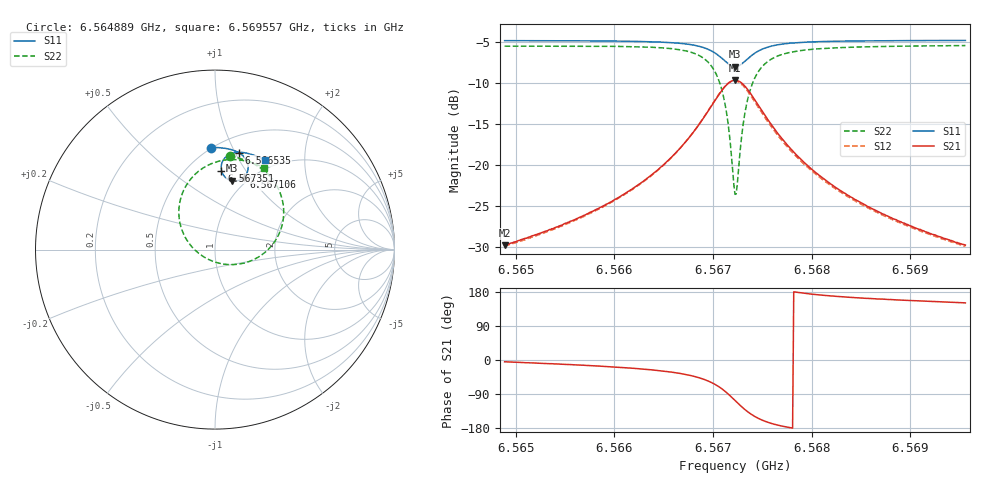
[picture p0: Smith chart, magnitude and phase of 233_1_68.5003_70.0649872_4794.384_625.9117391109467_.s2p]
#  HZ  S  RI  R  50.00
! Rohde & Schwarz Vector Network Analyzer
! Rohde-Schwarz,ZNB20-2Port,1311601062101988,3.16
! Created: UTC 3/20/2024, 5:14:08 PM
! freq[Hz]  re:S11  im:S11  re:S21  im:S21  re:S12  im:S12  re:S22  im:S22
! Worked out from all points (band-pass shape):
!   401 points, 6.564889 GHz to 6.569557 GHz, reference 50 ohm
!   highest |S21| = -9.71 dB at 6.567223 GHz (marker M1); lowest = -29.8 dB at 6.564889 GHz (marker M2)
!   |S21| within 3 dB of the highest: 6.566991 GHz to 6.567457 GHz (466.4 kHz wide, 0.0071 % of centre)
!   lowest |S11| = -8.1 dB at 6.567223 GHz (marker M3), VSWR 2.30, Z = 43.5 + j39.5 ohm
!   |S11| at or under -10 dB: nowhere
!   |S22| runs from -23.6 to -5.5 dB; largest |S21 - S12| = 0.017
!   S11 on the Smith chart (normalised r, x): 6.564889 GHz: 0.49, +0.83; 6.566535 GHz: 0.66, +1.04; 6.567106 GHz: 0.94, +0.94; 6.567351 GHz: 0.72, +0.78; 6.569557 GHz: 0.87, +1.29
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6.5648894e9  -0.0213 0.5686  0.0324 -0.00269  0.0319 -0.0033  0.0818 0.5206
6.5656712e9  0.0449 0.5659  0.0473 -0.0116  0.0465 -0.0121  0.1624 0.5013
6.5660796e9  0.0832 0.5588  0.0615 -0.0221  0.0606 -0.023  0.2163 0.478
6.566453e9  0.1236 0.5446  0.0837 -0.0444  0.0825 -0.0455  0.2825 0.4319
6.5665346e9  0.1335 0.5393  0.0905 -0.0533  0.0891 -0.0543  0.3002 0.4144
6.5667563e9  0.1626 0.5155  0.1118 -0.094  0.1102 -0.0958  0.3547 0.3351
6.5669314e9  0.1827 0.4758  0.1216 -0.1636  0.1182 -0.1674  0.3826 0.2005
6.5670364e9  0.1813 0.4355  0.1004 -0.2341  0.0936 -0.2388  0.3459 0.0664
6.5671064e9  0.1628 0.4046  0.0539 -0.2869  0.0429 -0.2904  0.2583 -0.0309
6.5671531e9  0.1394 0.3882  0.00265 -0.3127  -0.0114 -0.3132  0.162 -0.075
6.5671997e9  0.1086 0.3819  -0.061 -0.3194  -0.0765 -0.3148  0.0456 -0.0805
6.5672231e9  0.0923 0.3838  -0.0939 -0.3131  -0.1088 -0.306  -0.0126 -0.0651
6.5672464e9  0.077 0.3892  -0.125 -0.3005  -0.1387 -0.2906  -0.0662 -0.0381
6.5673047e9  0.0473 0.4147  -0.1846 -0.2481  -0.1928 -0.2342  -0.163 0.063
6.5673514e9  0.0362 0.4403  -0.2086 -0.1977  -0.212 -0.1835  -0.1967 0.1551
6.5674448e9  0.0392 0.4849  -0.21 -0.1114  -0.208 -0.1006  -0.1849 0.3054
6.5675848e9  0.067 0.5216  -0.1731 -0.0406  -0.1693 -0.0346  -0.1058 0.4242
6.5677481e9  0.0993 0.5376  -0.1329 -0.00704  -0.1295 -0.00372  -0.0229 0.4773
6.5680048e9  0.1383 0.5422  -0.0931 0.0103  -0.0908 0.0117  0.0644 0.5
6.5683782e9  0.1804 0.5365  -0.0629 0.0161  -0.0614 0.0168  0.1421 0.4987
6.5687866e9  0.2177 0.5255  -0.0453 0.0169  -0.0442 0.0173  0.1984 0.4863
6.5695567e9  0.2775 0.4987  -0.0284 0.0159  -0.0279 0.016  0.2741 0.4552
